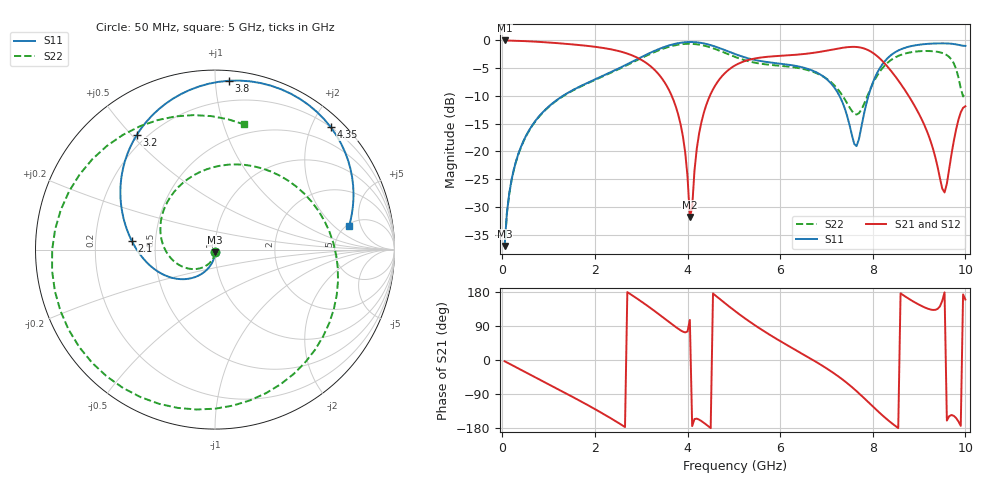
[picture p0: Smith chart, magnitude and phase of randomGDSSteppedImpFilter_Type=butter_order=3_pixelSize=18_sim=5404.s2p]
! freq	dB(S11)	phase(S11)	dB(S12)	phase(S12)
!  dB(S21)	phase(S21)	dB(S22)	phase(S22)
!S-par simulation data
#  GHz  S  DB  R 50
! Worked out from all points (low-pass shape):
!   200 points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, 50 MHz to 10 GHz, reference 50 ohm
!   highest |S21| = -0.02 dB at 50 MHz (marker M1); lowest = -31.8 dB at 4.05 GHz (marker M2)
!   |S21| within 3 dB of the highest: start of sweep to 2.89 GHz; 5.652 GHz to 8.119 GHz (2.467 GHz wide, 35.8 % of centre)
!   lowest |S11| = -37.0 dB at 50 MHz (marker M3), VSWR 1.03, Z = 50.1 - j1.41 ohm
!   |S11| at or under -10 dB: start of sweep to 1.308 GHz; 7.28 GHz to 7.906 GHz (626.1 MHz wide, 8.25 % of centre)
!   |S22| runs from -37.0 to -0.6 dB; largest |S21 - S12| = 0
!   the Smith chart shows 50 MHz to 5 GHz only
!   S11 on the Smith chart (normalised r, x): 50 MHz: 1.00, -0.03; 2.1 GHz: 0.37, +0.04; 3.2 GHz: 0.16, +0.52; 3.8 GHz: 0.06, +1.08; 4.35 GHz: 0.20, +2.31; 5 GHz: 5.20, +3.28
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0.05  -37.00 -85.5  -0.02 -3.3  -0.02 -3.3  -37.05 -86.8
0.2  -25.11 -98.2  -0.05 -12.9  -0.05 -12.9  -25.18 -103.6
0.5  -17.39 -114.9  -0.14 -32.2  -0.14 -32.2  -17.46 -128.8
1.75  -8.00 -171.9  -0.92 -112.6  -0.92 -112.6  -8.08 125.2
2.1  -6.66 174.3  -1.27 -136.4  -1.27 -136.4  -6.76 91.2
2.65  -4.49 151.9  -2.25 -176.9  -2.25 -176.9  -4.64 32.3
3.2  -2.22 124.1  -4.65 137.2  -4.65 137.2  -2.42 -32.7
3.4  -1.50 112.1  -6.34 119.1  -6.34 119.1  -1.72 -57.7
3.8  -0.50 85.3  -13.40 82.3  -13.40 82.3  -0.78 -110.0
4.05  -0.30 67.6  -31.77 105.6  -31.77 105.6  -0.62 -144.3
4.35  -0.55 46.6  -13.08 -165.5  -13.08 -165.5  -0.93 172.9
5  -2.39 10.1  -4.64 131.6  -4.64 131.6  -2.90 76.9
5.05  -2.54 8.0  -4.40 126.9  -4.40 126.9  -3.06 69.6
5.65  -3.82 -14.1  -3.02 76.1  -3.02 76.1  -4.28 -11.0
6.7  -5.45 -60.6  -2.27 0.5  -2.27 0.5  -5.63 -113.3
7.65  -19.03 146.7  -1.20 -82.2  -1.20 -82.2  -13.35 -142.1
8.35  -2.97 1.6  -5.04 -160.9  -5.04 -160.9  -3.82 -159.0
8.85  -1.00 -36.3  -11.02 156.2  -11.02 156.2  -2.10 150.8
9.35  -0.56 -62.0  -21.02 132.3  -21.02 132.3  -2.01 97.1
9.55  -0.54 -70.8  -27.38 178.6  -27.38 178.6  -2.44 68.9
9.75  -0.66 -79.0  -18.09 -147.4  -18.09 -147.4  -4.14 24.7
10  -1.00 -86.2  -11.86 159.5  -11.86 159.5  -9.37 -142.1
